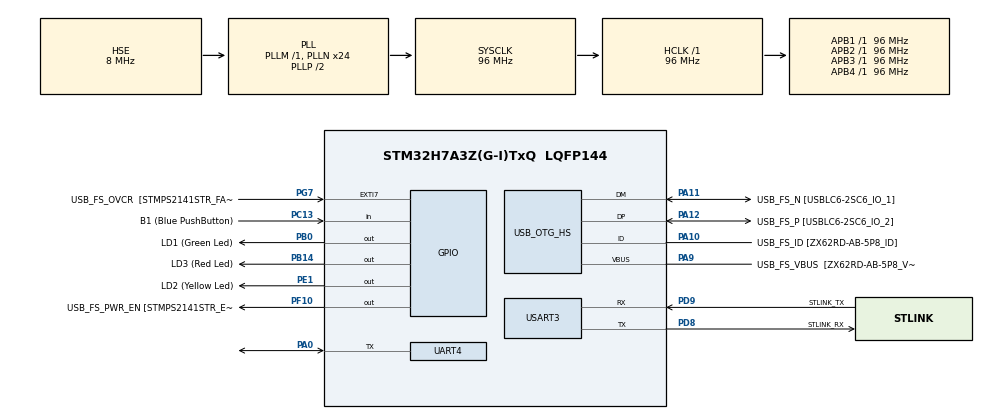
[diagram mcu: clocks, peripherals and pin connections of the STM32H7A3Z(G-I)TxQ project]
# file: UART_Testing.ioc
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Mcu.Family=STM32H7
Mcu.Name=STM32H7A3Z(G-I)TxQ
Mcu.Package=LQFP144
NVIC.PriorityGroup=NVIC_PRIORITYGROUP_4
PA0.Mode=Half_duplex(single_wire_mode)
PA0.Signal=UART4_TX
PA10.GPIO_Label=USB_FS_ID [ZX62RD-AB-5P8_ID]
PA10.Mode=OTG/Dual-Role-Device-FS
PA10.Signal=USB_OTG_HS_ID
PA11.GPIO_Label=USB_FS_N [USBLC6-2SC6_IO_1]
PA11.Mode=OTG/Dual-Role-Device-FS
PA11.Signal=USB_OTG_HS_DM
PA12.GPIO_Label=USB_FS_P [USBLC6-2SC6_IO_2]
PA12.Mode=OTG/Dual-Role-Device-FS
PA12.Signal=USB_OTG_HS_DP
PA9.GPIO_Label=USB_FS_VBUS  [ZX62RD-AB-5P8_VBUS]
PA9.Mode=Activate_VBUS_FS
PA9.Signal=USB_OTG_HS_VBUS
PB0.GPIO_Label=LD1 (Green Led)
PB0.Signal=GPIO_Output
PB14.GPIO_Label=LD3 (Red Led)
PB14.Signal=GPIO_Output
PC13.GPIO_Label=B1 (Blue PushButton)
PC13.Signal=GPIO_Input
PC14-OSC32_IN.GPIO_Label=OSC32_IN
PC14-OSC32_IN.Mode=LSE-External-Oscillator
PC14-OSC32_IN.Signal=RCC_OSC32_IN
PC15-OSC32_OUT.GPIO_Label=OSC32_OUT
PC15-OSC32_OUT.Mode=LSE-External-Oscillator
PC15-OSC32_OUT.Signal=RCC_OSC32_OUT
PD8.GPIO_Label=STLINK_RX
PD8.Mode=Asynchronous
PD8.Signal=USART3_TX
PD9.GPIO_Label=STLINK_TX
PD9.Mode=Asynchronous
PD9.Signal=USART3_RX
PE1.GPIO_Label=LD2 (Yellow Led)
PE1.Signal=GPIO_Output
PF10.GPIO_Label=USB_FS_PWR_EN [STMPS2141STR_EN]
PF10.Signal=GPIO_Output
PG7.GPIO_Label=USB_FS_OVCR  [STMPS2141STR_FAULT]
PG7.Signal=GPXTI7
PH0-OSC_IN.GPIO_Label=PH0-MCU
PH0-OSC_IN.Mode=HSE-External-Clock-Source
PH0-OSC_IN.Signal=RCC_OSC_IN
PH1-OSC_OUT.GPIO_Label=PH1-MCU
PH1-OSC_OUT.Signal=RCC_OSC_OUT
ProjectManager.HeapSize=0x200
ProjectManager.StackSize=0x400
ProjectManager.TargetToolchain=STM32CubeIDE
RCC.ADCFreq_Value=16125000
RCC.APB1Freq_Value=96000000
RCC.APB2Freq_Value=96000000
RCC.APB3Freq_Value=96000000
RCC.APB4Freq_Value=96000000
RCC.CortexFreq_Value=96000000
RCC.DIVM1=1
RCC.DIVM3=1
RCC.DIVN1=24
RCC.DIVN3=24
RCC.DIVQ1=4
RCC.HCLKFreq_Value=96000000
RCC.HSE_VALUE=8000000
RCC.PLLFRACN=0
RCC.PLLSourceVirtual=RCC_PLLSOURCE_HSE
RCC.PWR_Regulator_Voltage_Scale=PWR_REGULATOR_VOLTAGE_SCALE0
RCC.SYSCLKFreq_VALUE=96000000
RCC.SYSCLKSource=RCC_SYSCLKSOURCE_PLLCLK
RCC.SupplySource=PWR_DIRECT_SMPS_SUPPLY
RCC.USBCLockSelection=RCC_USBCLKSOURCE_HSI48
RCC.USBFreq_Value=48000000
UART4.BaudRate=430000
USART3.VirtualMode-Asynchronous=VM_ASYNC
board=NUCLEO-H7A3ZI-Q

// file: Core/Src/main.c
/* USER CODE BEGIN Header */
/**
  ******************************************************************************
  * @file           : main.c
  * @brief          : Main program body
  ******************************************************************************
  * @attention
  *
  * Copyright (c) 2023 STMicroelectronics.
  * All rights reserved.
  *
  * This software is licensed under terms that can be found in the LICENSE file
  * in the root directory of this software component.
  * If no LICENSE file comes with this software, it is provided AS-IS.
  *
  ******************************************************************************
  */
/* USER CODE END Header */
#include "main.h"

/* USER CODE BEGIN Includes */
#include <stdio.h>
/* USER CODE END Includes */

UART_HandleTypeDef huart4;
UART_HandleTypeDef huart3;

void SystemClock_Config(void);
static void MX_GPIO_Init(void);
static void MX_USART3_UART_Init(void);
static void MX_USB_OTG_HS_USB_Init(void);
static void MX_UART4_Init(void);
/* USER CODE BEGIN PFP */
#ifdef __GNUC__
#define PUTCHAR_PROTOTYPE int __io_putchar(int ch)
#else
#define PUTCHAR_PROTOTYPE int fputc(int ch, FILE *f)
#endif

PUTCHAR_PROTOTYPE
{
  HAL_UART_Transmit(&huart3, (uint8_t *)&ch, 1, HAL_MAX_DELAY);
  return ch;
}
/* USER CODE END PFP */

int main(void)
{

  /* MCU Configuration--------------------------------------------------------*/

  /* Reset of all peripherals, Initializes the Flash interface and the Systick. */
  HAL_Init();

  /* USER CODE BEGIN Init */
  uint8_t tx_data = 0;
  /* USER CODE END Init */

  /* Configure the system clock */
  SystemClock_Config();

  /* Initialize all configured peripherals */
  MX_GPIO_Init();
  MX_USART3_UART_Init();
  MX_USB_OTG_HS_USB_Init();
  MX_UART4_Init();
  /* USER CODE BEGIN 2 */

  uint16_t SAMPLE_RATE = 8000;		//samples/second
  uint16_t AUDIO_DURATION = 15;		//seconds
  float PI = 3.14159;

  double AMPLITUDE = 0X2000;
  const double ONE_HZ = 2 * PI / SAMPLE_RATE; //Digital frequency equivalent to 1 Hz -- units of cycles/sample
  volatile int16_t sample; //actually 32 bits long, not sure why
  int i = 0;
  int i_max = SAMPLE_RATE * AUDIO_DURATION; //number of samples to be generated in file

  /* USER CODE END 2 */

  /* Infinite loop */
  /* USER CODE BEGIN WHILE */
  while (1)
  {

  if (i == 0) {
	  printf("Starting data transmission.\r\n");

	  //send start character
	  tx_data = 0xFF;
	  HAL_UART_Transmit(&huart4, (uint8_t *)&tx_data, 1, HAL_MAX_DELAY);
	  HAL_UART_Transmit(&huart4, (uint8_t *)&tx_data, 1, HAL_MAX_DELAY);
	  HAL_UART_Transmit(&huart4, (uint8_t *)&tx_data, 1, HAL_MAX_DELAY);
	  tx_data = 0xEE;
	  HAL_UART_Transmit(&huart4, (uint8_t *)&tx_data, 1, HAL_MAX_DELAY);

  }

  i++;
  //i = i_max+1;
  if (i <= i_max && i != 0) {

	  //sine waves at 262, 330, 392Hz
	  //values of sample must be between -0x8000 and 0x7999
	  sample = 0;
	  sample += AMPLITUDE * sin(i * ONE_HZ * 262 * 2);
	  sample += AMPLITUDE * sin(i * ONE_HZ * 330 * 2);
	  sample += AMPLITUDE * sin(i * ONE_HZ * 392 * 2);
	  //printf("Sample is: %d or 0x%x\t\r\n", sample, sample);

	  //debug only -- check logic for escape char in data detection
	  //sample = -2;
	  //printf("sample is: 0x%x\r\n", sample);
	  //printf("last 16 bits: 0x%x\r\n", sample & 0xFFFF);
	  //printf("checked against mask: 0x%x\r\n", (sample & 0xFFFF) ^ 0xFFFF);

	  //send escape char twice to indicate escape char value is being sent
	  if (!((sample & 0xFFFF) ^ 0xFFFF)) {

		  //send 0xFFFF twice to
		  tx_data = 0xFF;
		  HAL_UART_Transmit(&huart4, (uint8_t *)&tx_data, 1, HAL_MAX_DELAY);
		  HAL_UART_Transmit(&huart4, (uint8_t *)&tx_data, 1, HAL_MAX_DELAY);
		  HAL_UART_Transmit(&huart4, (uint8_t *)&tx_data, 1, HAL_MAX_DELAY);
		  HAL_UART_Transmit(&huart4, (uint8_t *)&tx_data, 1, HAL_MAX_DELAY);

		  //printf("sample is: 0x%x\r\n", sample); //debug only
		  //printf("sending 0xffff\r\n"); //debug only
	  }
	  else { //send data normally

		  //say sample = 0x1234;

		  //transmit first 8 bits
		  tx_data = sample >> 8;     // high byte (0x12)
		  HAL_UART_Transmit(&huart4, (uint8_t *)&tx_data, 1, HAL_MAX_DELAY);
		  //printf("Sent as: %x\t", tx_data); //debug only

		  //transmit last 8 bits
		  tx_data = sample & 0x00FF; // low byte (0x34)
		  HAL_UART_Transmit(&huart4, (uint8_t *)&tx_data, 1, HAL_MAX_DELAY);
		  //printf("%x\r\n", tx_data); //debug only
	  }

	  //HAL_Delay(1000); //debug only
  }
  else { //end of file, send end of file char after escape char

	  //send escape character (0xFFFF)
	  tx_data = 0xFF;
	  HAL_UART_Transmit(&huart4, (uint8_t *)&tx_data, 1, HAL_MAX_DELAY);
	  tx_data = 0xFF;
	  HAL_UART_Transmit(&huart4, (uint8_t *)&tx_data, 1, HAL_MAX_DELAY);

	  //send end of file character (0xFFFE)
	  tx_data = 0xFF;
	  HAL_UART_Transmit(&huart4, (uint8_t *)&tx_data, 1, HAL_MAX_DELAY);
	  tx_data = 0xFE;
	  HAL_UART_Transmit(&huart4, (uint8_t *)&tx_data, 1, HAL_MAX_DELAY);

	  //reset counter
	  i = 0;

	  //delay for viewing
	  printf("All data sent.\r\n");
	  HAL_Delay(1000);

  }
    /* USER CODE END WHILE */

  }
}

void SystemClock_Config(void)
{
  RCC_OscInitTypeDef RCC_OscInitStruct = {0};
  RCC_ClkInitTypeDef RCC_ClkInitStruct = {0};

  /*AXI clock gating */
  RCC->CKGAENR = 0xFFFFFFFF;

  /** Supply configuration update enable
  */
  HAL_PWREx_ConfigSupply(PWR_DIRECT_SMPS_SUPPLY);

  /** Configure the main internal regulator output voltage
  */
  __HAL_PWR_VOLTAGESCALING_CONFIG(PWR_REGULATOR_VOLTAGE_SCALE0);

  while(!__HAL_PWR_GET_FLAG(PWR_FLAG_VOSRDY)) {}

  /** Initializes the RCC Oscillators according to the specified parameters
  * in the RCC_OscInitTypeDef structure.
  */
  RCC_OscInitStruct.OscillatorType = RCC_OSCILLATORTYPE_HSI48|RCC_OSCILLATORTYPE_HSE;
  RCC_OscInitStruct.HSEState = RCC_HSE_BYPASS;
  RCC_OscInitStruct.HSI48State = RCC_HSI48_ON;
  RCC_OscInitStruct.PLL.PLLState = RCC_PLL_ON;
  RCC_OscInitStruct.PLL.PLLSource = RCC_PLLSOURCE_HSE;
  RCC_OscInitStruct.PLL.PLLM = 1;
  RCC_OscInitStruct.PLL.PLLN = 24;
  RCC_OscInitStruct.PLL.PLLP = 2;
  RCC_OscInitStruct.PLL.PLLQ = 4;
  RCC_OscInitStruct.PLL.PLLR = 2;
  RCC_OscInitStruct.PLL.PLLRGE = RCC_PLL1VCIRANGE_3;
  RCC_OscInitStruct.PLL.PLLVCOSEL = RCC_PLL1VCOWIDE;
  RCC_OscInitStruct.PLL.PLLFRACN = 0;
  if (HAL_RCC_OscConfig(&RCC_OscInitStruct) != HAL_OK)
  {
    Error_Handler();
  }

  /** Initializes the CPU, AHB and APB buses clocks
  */
  RCC_ClkInitStruct.ClockType = RCC_CLOCKTYPE_HCLK|RCC_CLOCKTYPE_SYSCLK
                              |RCC_CLOCKTYPE_PCLK1|RCC_CLOCKTYPE_PCLK2
                              |RCC_CLOCKTYPE_D3PCLK1|RCC_CLOCKTYPE_D1PCLK1;
  RCC_ClkInitStruct.SYSCLKSource = RCC_SYSCLKSOURCE_PLLCLK;
  RCC_ClkInitStruct.SYSCLKDivider = RCC_SYSCLK_DIV1;
  RCC_ClkInitStruct.AHBCLKDivider = RCC_HCLK_DIV1;
  RCC_ClkInitStruct.APB3CLKDivider = RCC_APB3_DIV1;
  RCC_ClkInitStruct.APB1CLKDivider = RCC_APB1_DIV1;
  RCC_ClkInitStruct.APB2CLKDivider = RCC_APB2_DIV1;
  RCC_ClkInitStruct.APB4CLKDivider = RCC_APB4_DIV1;

  if (HAL_RCC_ClockConfig(&RCC_ClkInitStruct, FLASH_LATENCY_2) != HAL_OK)
  {
    Error_Handler();
  }
}

static void MX_UART4_Init(void)
{

  huart4.Instance = UART4;
  huart4.Init.BaudRate = 430000;
  huart4.Init.WordLength = UART_WORDLENGTH_8B;
  huart4.Init.StopBits = UART_STOPBITS_1;
  huart4.Init.Parity = UART_PARITY_NONE;
  huart4.Init.Mode = UART_MODE_TX_RX;
  huart4.Init.HwFlowCtl = UART_HWCONTROL_NONE;
  huart4.Init.OverSampling = UART_OVERSAMPLING_16;
  huart4.Init.OneBitSampling = UART_ONE_BIT_SAMPLE_DISABLE;
  huart4.Init.ClockPrescaler = UART_PRESCALER_DIV1;
  huart4.AdvancedInit.AdvFeatureInit = UART_ADVFEATURE_NO_INIT;
  if (HAL_HalfDuplex_Init(&huart4) != HAL_OK)
  {
    Error_Handler();
  }
  if (HAL_UARTEx_SetTxFifoThreshold(&huart4, UART_TXFIFO_THRESHOLD_1_8) != HAL_OK)
  {
    Error_Handler();
  }
  if (HAL_UARTEx_SetRxFifoThreshold(&huart4, UART_RXFIFO_THRESHOLD_1_8) != HAL_OK)
  {
    Error_Handler();
  }
  if (HAL_UARTEx_DisableFifoMode(&huart4) != HAL_OK)
  {
    Error_Handler();
  }

}

static void MX_USART3_UART_Init(void)
{

  huart3.Instance = USART3;
  huart3.Init.BaudRate = 115200;
  huart3.Init.WordLength = UART_WORDLENGTH_8B;
  huart3.Init.StopBits = UART_STOPBITS_1;
  huart3.Init.Parity = UART_PARITY_NONE;
  huart3.Init.Mode = UART_MODE_TX_RX;
  huart3.Init.HwFlowCtl = UART_HWCONTROL_NONE;
  huart3.Init.OverSampling = UART_OVERSAMPLING_16;
  huart3.Init.OneBitSampling = UART_ONE_BIT_SAMPLE_DISABLE;
  huart3.Init.ClockPrescaler = UART_PRESCALER_DIV1;
  huart3.AdvancedInit.AdvFeatureInit = UART_ADVFEATURE_NO_INIT;
  if (HAL_UART_Init(&huart3) != HAL_OK)
  {
    Error_Handler();
  }
  if (HAL_UARTEx_SetTxFifoThreshold(&huart3, UART_TXFIFO_THRESHOLD_1_8) != HAL_OK)
  {
    Error_Handler();
  }
  if (HAL_UARTEx_SetRxFifoThreshold(&huart3, UART_RXFIFO_THRESHOLD_1_8) != HAL_OK)
  {
    Error_Handler();
  }
  if (HAL_UARTEx_DisableFifoMode(&huart3) != HAL_OK)
  {
    Error_Handler();
  }

}

static void MX_USB_OTG_HS_USB_Init(void)
{

}

static void MX_GPIO_Init(void)
{
  GPIO_InitTypeDef GPIO_InitStruct = {0};

  /* GPIO Ports Clock Enable */
  __HAL_RCC_GPIOC_CLK_ENABLE();
  __HAL_RCC_GPIOF_CLK_ENABLE();
  __HAL_RCC_GPIOH_CLK_ENABLE();
  __HAL_RCC_GPIOA_CLK_ENABLE();
  __HAL_RCC_GPIOB_CLK_ENABLE();
  __HAL_RCC_GPIOD_CLK_ENABLE();
  __HAL_RCC_GPIOG_CLK_ENABLE();
  __HAL_RCC_GPIOE_CLK_ENABLE();

  /*Configure GPIO pin Output Level */
  HAL_GPIO_WritePin(USB_FS_PWR_EN_GPIO_Port, USB_FS_PWR_EN_Pin, GPIO_PIN_RESET);

  /*Configure GPIO pin Output Level */
  HAL_GPIO_WritePin(GPIOB, LD1_Pin|LD3_Pin, GPIO_PIN_RESET);

  /*Configure GPIO pin Output Level */
  HAL_GPIO_WritePin(LD2_GPIO_Port, LD2_Pin, GPIO_PIN_RESET);

  /*Configure GPIO pin : B1_Pin */
  GPIO_InitStruct.Pin = B1_Pin;
  GPIO_InitStruct.Mode = GPIO_MODE_INPUT;
  GPIO_InitStruct.Pull = GPIO_NOPULL;
  HAL_GPIO_Init(B1_GPIO_Port, &GPIO_InitStruct);

  /*Configure GPIO pin : USB_FS_PWR_EN_Pin */
  GPIO_InitStruct.Pin = USB_FS_PWR_EN_Pin;
  GPIO_InitStruct.Mode = GPIO_MODE_OUTPUT_PP;
  GPIO_InitStruct.Pull = GPIO_NOPULL;
  GPIO_InitStruct.Speed = GPIO_SPEED_FREQ_LOW;
  HAL_GPIO_Init(USB_FS_PWR_EN_GPIO_Port, &GPIO_InitStruct);

  /*Configure GPIO pins : LD1_Pin LD3_Pin */
  GPIO_InitStruct.Pin = LD1_Pin|LD3_Pin;
  GPIO_InitStruct.Mode = GPIO_MODE_OUTPUT_PP;
  GPIO_InitStruct.Pull = GPIO_NOPULL;
  GPIO_InitStruct.Speed = GPIO_SPEED_FREQ_LOW;
  HAL_GPIO_Init(GPIOB, &GPIO_InitStruct);

  /*Configure GPIO pin : USB_FS_OVCR_Pin */
  GPIO_InitStruct.Pin = USB_FS_OVCR_Pin;
  GPIO_InitStruct.Mode = GPIO_MODE_IT_RISING;
  GPIO_InitStruct.Pull = GPIO_NOPULL;
  HAL_GPIO_Init(USB_FS_OVCR_GPIO_Port, &GPIO_InitStruct);

  /*Configure GPIO pin : USB_FS_VBUS_Pin */
  GPIO_InitStruct.Pin = USB_FS_VBUS_Pin;
  GPIO_InitStruct.Mode = GPIO_MODE_INPUT;
  GPIO_InitStruct.Pull = GPIO_NOPULL;
  HAL_GPIO_Init(USB_FS_VBUS_GPIO_Port, &GPIO_InitStruct);

  /*Configure GPIO pin : USB_FS_ID_Pin */
  GPIO_InitStruct.Pin = USB_FS_ID_Pin;
  GPIO_InitStruct.Mode = GPIO_MODE_AF_PP;
  GPIO_InitStruct.Pull = GPIO_NOPULL;
  GPIO_InitStruct.Speed = GPIO_SPEED_FREQ_LOW;
  GPIO_InitStruct.Alternate = GPIO_AF10_OTG1_HS;
  HAL_GPIO_Init(USB_FS_ID_GPIO_Port, &GPIO_InitStruct);

  /*Configure GPIO pins : USB_FS_N_Pin USB_FS_P_Pin */
  GPIO_InitStruct.Pin = USB_FS_N_Pin|USB_FS_P_Pin;
  GPIO_InitStruct.Mode = GPIO_MODE_AF_PP;
  GPIO_InitStruct.Pull = GPIO_NOPULL;
  GPIO_InitStruct.Speed = GPIO_SPEED_FREQ_LOW;
  HAL_GPIO_Init(GPIOA, &GPIO_InitStruct);

  /*Configure GPIO pin : LD2_Pin */
  GPIO_InitStruct.Pin = LD2_Pin;
  GPIO_InitStruct.Mode = GPIO_MODE_OUTPUT_PP;
  GPIO_InitStruct.Pull = GPIO_NOPULL;
  GPIO_InitStruct.Speed = GPIO_SPEED_FREQ_LOW;
  HAL_GPIO_Init(LD2_GPIO_Port, &GPIO_InitStruct);

}

void Error_Handler(void)
{
  __disable_irq();
  while (1)
  {
  }
}
